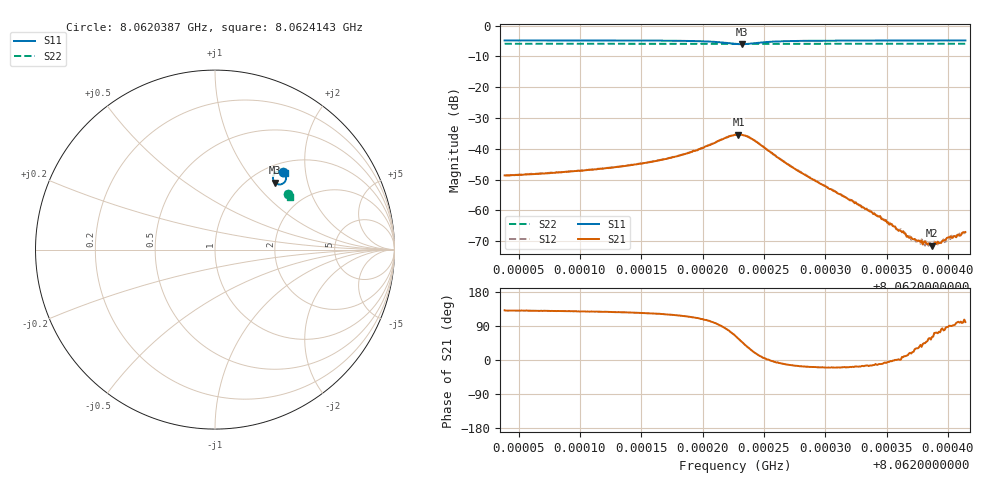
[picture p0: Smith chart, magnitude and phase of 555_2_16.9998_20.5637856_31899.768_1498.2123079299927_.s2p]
#  HZ  S  RI  R  50.00
! Rohde & Schwarz Vector Network Analyzer
! Rohde-Schwarz,ZNB20-2Port,1311601062101988,3.16
! Created: UTC 3/20/2024, 11:16:58 PM
! freq[Hz]  re:S11  im:S11  re:S21  im:S21  re:S12  im:S12  re:S22  im:S22
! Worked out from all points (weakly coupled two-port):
!   401 points, 8.0620387 GHz to 8.0624143 GHz, reference 50 ohm
!   highest |S21| = -35.36 dB at 8.0622293 GHz (marker M1); lowest = -71.4 dB at 8.062387 GHz (marker M2)
!   lowest |S11| = -6.0 dB at 8.0622321 GHz (marker M3), VSWR 3.01, Z = 64.3 + j64 ohm
!   |S11| at or under -10 dB: nowhere
!   |S22| runs from -5.9 to -5.9 dB; largest |S21 - S12| = 0.0011
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8.06203867e9  0.3795 0.4332  -0.00244 0.00279  -0.00227 0.00297  0.4041 0.3091
8.06210158e9  0.3853 0.4273  -0.00274 0.00347  -0.00259 0.0037  0.4065 0.3059
8.06214478e9  0.3901 0.4208  -0.00317 0.00459  -0.00295 0.00478  0.408 0.3035
8.06216449e9  0.393 0.4156  -0.00346 0.00552  -0.00308 0.00577  0.4088 0.3022
8.06219078e9  0.3963 0.4027  -0.0035 0.00818  -0.00307 0.00839  0.4096 0.3005
8.06221238e9  0.3889 0.3776  -0.00106 0.0133  -0.000262 0.0133  0.4098 0.2985
8.06222647e9  0.3536 0.3635  0.00732 0.0153  0.00814 0.0149  0.4083 0.2977
8.06222928e9  0.3432 0.3667  0.00948 0.0142  0.0104 0.0137  0.4081 0.2979
8.0622321e9  0.334 0.3733  0.0114 0.0125  0.0121 0.0119  0.4077 0.2982
8.06224243e9  0.3236 0.4074  0.0129 0.00454  0.0133 0.00378  0.4082 0.2993
8.06226778e9  0.3534 0.4359  0.00581 -0.00117  0.00577 -0.00155  0.4108 0.299
8.06228938e9  0.3668 0.4358  0.00308 -0.00102  0.00305 -0.00126  0.412 0.2977
8.06232318e9  0.3769 0.4324  0.0013 -0.000432  0.00129 -0.000504  0.4136 0.2958
8.06235229e9  0.3819 0.4299  0.000584 -4.86e-05  0.000637 -8.23e-05  0.4148 0.2942
8.06236825e9  0.3839 0.4286  0.000345 0.000105  0.00038 0.000111  0.4153 0.2933
8.06237201e9  0.3843 0.4281  0.000317 0.000126  0.000313 0.000124  0.4154 0.2931
8.06238609e9  0.3859 0.427  0.00016 0.00022  0.000126 0.000247  0.4159 0.2922
8.06238703e9  0.386 0.427  0.00013 0.000234  0.000149 0.000242  0.4159 0.2922
8.0623936e9  0.3867 0.4267  8.74e-05 0.000285  9.89e-05 0.000279  0.4162 0.292
8.06240205e9  0.3875 0.426  6.13e-07 0.00038  -7.5e-07 0.000343  0.4165 0.2914
8.06240863e9  0.3881 0.4255  -7.69e-05 0.000399  -1.13e-05 0.000393  0.4167 0.2913
8.06241426e9  0.3886 0.4252  -7.93e-05 0.000439  -5.28e-05 0.000417  0.417 0.2909
